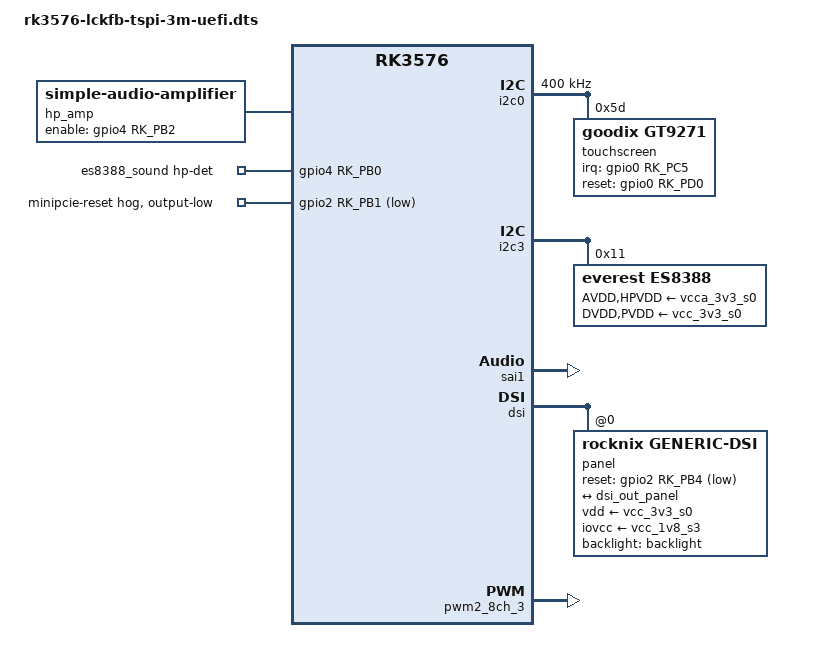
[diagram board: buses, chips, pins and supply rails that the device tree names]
// SPDX-License-Identifier: (GPL-2.0+ OR MIT)
/*
 * LCKFB TaishanPi 3M: the device tree the UEFI firmware hands to the OS.
 *
 * rk3576-lckfb-tspi-3m.dts next to this file is the mainline Linux 7.3 file,
 * unchanged.  Anything the firmware needs on top of it goes here, so the
 * mainline file can be replaced by a newer one without a merge.
 *
 * Added: the GT9271 touch controller of LCKFB's 800x1280 DSI screen.  Touch
 * needs nothing but the mainline goodix driver, and a missing screen only
 * fails its probe, so it is always described.
 *
 * Added: the rest of that screen, from Armbian's overlay
 * lckfb-tspi-3m-dsi-c41409463.dtso: its pwm-backlight on PWM2 channel 2,
 * and the panel on the DSI host, routed from VP2.  These are written
 * disabled, and FdtPlatformDxe turns them on at ReadyToBoot only when the
 * screen answered (FdtFixupDsiPanel): the backlight whenever the firmware
 * lit the screen, or the OS is to drive it natively; the DSI host and
 * D-PHY only with force GOP off, since with force GOP on the OS keeps the
 * firmware's picture and the VOP is disabled under it.  The backlight
 * starts at the level set in setup, so it does not jump at the handoff.
 * The panel needs Armbian's rocknix,generic-dsi driver; mainline has no
 * driver with this init sequence.
 *
 * Added: PWM2 channels 2 and 3, in the form of the RK3576 PWM v5 series
 * (rockchip,rk3576-pwm, Armbian's rk3576-pwm-v5 patch), which mainline does
 * not have yet.  Channel 3 drives the fan.  It is described with no
 * consumer, so that a kernel with the driver keeps the PWM clock on and the
 * fan where the firmware left it, and does not take control of it.
 *
 * Added from Armbian's board patch: the GPU's supply, clocks and OPPs (left
 * disabled, see &gpu below), and the mini-PCIe slot's 3.3 V supply kept on
 * and its reset released, so an EC20 4G module in it powers up.
 *
 * Added: the ES8388 headphone codec on I2C3 and SAI1, as a simple-audio-card
 * with jack detection (GPIO4 PB0) and the headphone amplifier enable (GPIO4
 * PB2).  Taken unchanged from Armbian's board patch
 * (rockchip64-7.3/board-lckfb-tspi-3m-01-onboard-hardware.patch), whose
 * device tree gave audible headphone output on this board with Linux 7.3.4
 * booted through this firmware.  Mainline describes only HDMI audio.  None
 * of it is in the ACPI tables' way: Windows gets the codec from the DSDT.
 *
 * Added: both USB-A VBUS supplies stay on.  The usb-a-connector nodes name
 * them, but no driver enables a connector's supply behind a hub, so the
 * kernel switched them off when it registered the regulators: a system
 * started from a USB stick lost the stick before it could mount it.
 *
 * The CM5-IO wrapper forces both USB controllers to
 * host mode and enables the UFS controller; neither has been shown to be
 * needed on this board, and the USB-C port here is described with a FUSB302
 * and role switching that a forced host mode would override.
 *
 * Copyright (c) 2026, Jiaxing Hu <gahing@gahingwoo.com>
 */

#include "rk3576-lckfb-tspi-3m.dts"

&i2c0 {
	pinctrl-names = "default";
	pinctrl-0 = <&i2c0m1_xfer>;
	clock-frequency = <400000>;
	status = "okay";

	touchscreen@5d {
		compatible = "goodix,gt9271";
		reg = <0x5d>;
		interrupt-parent = <&gpio0>;
		interrupts = <RK_PC5 IRQ_TYPE_LEVEL_LOW>;
		irq-gpios = <&gpio0 RK_PC5 GPIO_ACTIVE_HIGH>;
		/*
		 * The line resets the chip when low, but the goodix driver
		 * writes 0 to reset and 1 to release, so this is ACTIVE_HIGH
		 * like on every other board using it.
		 */
		reset-gpios = <&gpio0 RK_PD0 GPIO_ACTIVE_HIGH>;
		pinctrl-names = "default";
		pinctrl-0 = <&touch_int &touch_rst>;
	};
};

&pinctrl {
	touch {
		/* The interrupt line needs a pull-up and the board has none. */
		touch_int: touch-int {
			rockchip,pins = <0 RK_PC5 RK_FUNC_GPIO &pcfg_pull_up>;
		};

		touch_rst: touch-rst {
			rockchip,pins = <0 RK_PD0 RK_FUNC_GPIO &pcfg_pull_none>;
		};
	};
};

&vcc_5v0_usb2_host {
	regulator-always-on;
	regulator-boot-on;
};

&vcc_5v0_usb3_host {
	regulator-always-on;
	regulator-boot-on;
};

/ {
	hp_amp: headphone-amplifier {
		compatible = "simple-audio-amplifier";
		enable-gpios = <&gpio4 RK_PB2 GPIO_ACTIVE_HIGH>;
		pinctrl-names = "default";
		pinctrl-0 = <&hp_ctl>;
		sound-name-prefix = "Headphone Amp";
	};

	es8388_sound: es8388-sound {
		compatible = "simple-audio-card";
		pinctrl-names = "default";
		pinctrl-0 = <&hp_det>;
		simple-audio-card,name = "rockchip-es8388";
		simple-audio-card,format = "i2s";
		simple-audio-card,mclk-fs = <256>;
		simple-audio-card,aux-devs = <&hp_amp>;
		simple-audio-card,hp-det-gpios = <&gpio4 RK_PB0 GPIO_ACTIVE_HIGH>;
		simple-audio-card,routing =
			"Headphones", "Headphone Amp OUTL",
			"Headphones", "Headphone Amp OUTR",
			"Headphone Amp INL", "LOUT1",
			"Headphone Amp INR", "ROUT1",
			"LINPUT1", "Onboard Microphone",
			"LINPUT2", "Onboard Microphone",
			"RINPUT1", "Headset Microphone",
			"RINPUT2", "Headset Microphone";
		simple-audio-card,widgets =
			"Headphone", "Headphones",
			"Microphone", "Onboard Microphone",
			"Microphone", "Headset Microphone";

		simple-audio-card,codec {
			sound-dai = <&es8388>;
			system-clock-frequency = <12288000>;
		};

		simple-audio-card,cpu {
			sound-dai = <&sai1>;
		};
	};
};

&i2c3 {
	pinctrl-names = "default";
	pinctrl-0 = <&i2c3m0_xfer>;
	status = "okay";

	es8388: audio-codec@11 {
		compatible = "everest,es8388", "everest,es8328";
		reg = <0x11>;
		#sound-dai-cells = <0>;
		clocks = <&cru CLK_SAI1_MCLKOUT_TO_IO>;
		assigned-clocks = <&cru CLK_SAI1_MCLKOUT_TO_IO>;
		assigned-clock-rates = <12288000>;
		pinctrl-names = "default";
		pinctrl-0 = <&sai1m0_mclk>;
		AVDD-supply = <&vcca_3v3_s0>;
		DVDD-supply = <&vcc_3v3_s0>;
		HPVDD-supply = <&vcca_3v3_s0>;
		PVDD-supply = <&vcc_3v3_s0>;
	};
};

&pinctrl {
	headphone {
		hp_det: hp-det {
			rockchip,pins = <4 RK_PB0 RK_FUNC_GPIO &pcfg_pull_up>;
		};

		hp_ctl: hp-ctl {
			rockchip,pins = <4 RK_PB2 RK_FUNC_GPIO &pcfg_pull_none>;
		};
	};
};

/*
 * Only SDO2 reaches the codec's DAC input.  The route puts the first data
 * lane (the stereo pair a 2-channel stream uses) on SDO2.
 */
&sai1 {
	pinctrl-names = "default";
	pinctrl-0 = <&sai1m0_lrck
		     &sai1m0_sclk
		     &sai1m0_sdi0
		     &sai1m0_sdo2>;
	rockchip,sai-tx-route = <2 1 0 3>;
	status = "okay";
};

/*
 * The 10.1in DSI screen.  Disabled here; FdtFixupDsiPanel in FdtPlatformDxe
 * enables what applies once the firmware has looked for the screen.
 */
/ {
	backlight: backlight {
		compatible = "pwm-backlight";
		pwms = <&pwm2_8ch_2 0 25000 0>;
		/*
		 * 10% to 100% duty in 1% steps, the range of "Screen Brightness"
		 * in setup: level n is (n + 10)% duty.  FdtFixupDsiPanel
		 * replaces the default with the level the firmware lit the screen
		 * at.  The overlay's own scale is 20 to 255 of 255.
		 */
		brightness-levels = <10 100>;
		num-interpolated-steps = <90>;
		default-brightness-level = <50>;
		status = "disabled";
	};
};

&dsi {
	#address-cells = <1>;
	#size-cells = <0>;

	panel@0 {
		compatible = "rocknix,generic-dsi";
		reg = <0>;
		backlight = <&backlight>;
		reset-gpios = <&gpio2 RK_PB4 GPIO_ACTIVE_LOW>;
		pinctrl-names = "default";
		pinctrl-0 = <&lcd_rst>;
		/* mounted rotated: landscape is the panel's left side up */
		rotation = <270>;
		vdd-supply = <&vcc_3v3_s0>;
		iovcc-supply = <&vcc_1v8_s3>;

		panel_description =
			"G size=135,216 delays=20,30,10,100,20 format=rgb888 lanes=4 flags=0xa03",
			"M clock=71000 horizontal=800,52,8,48 vertical=1280,15,6,16 default=1",
			"I seq=ff988103",
			"I seq=0100",
			"I seq=0200",
			"I seq=0353",
			"I seq=0453",
			"I seq=0513",
			"I seq=0604",
			"I seq=0702",
			"I seq=0802",
			"I seq=0900",
			"I seq=0a00",
			"I seq=0b00",
			"I seq=0c00",
			"I seq=0d00",
			"I seq=0e00",
			"I seq=0f00",
			"I seq=1000",
			"I seq=1100",
			"I seq=1200",
			"I seq=1300",
			"I seq=1400",
			"I seq=1500",
			"I seq=1600",
			"I seq=1700",
			"I seq=1800",
			"I seq=1900",
			"I seq=1a00",
			"I seq=1b00",
			"I seq=1c00",
			"I seq=1d00",
			"I seq=1ec0",
			"I seq=1f00",
			"I seq=2002",
			"I seq=2109",
			"I seq=2200",
			"I seq=2300",
			"I seq=2400",
			"I seq=2500",
			"I seq=2600",
			"I seq=2700",
			"I seq=2855",
			"I seq=2903",
			"I seq=2a00",
			"I seq=2b00",
			"I seq=2c00",
			"I seq=2d00",
			"I seq=2e00",
			"I seq=2f00",
			"I seq=3000",
			"I seq=3100",
			"I seq=3200",
			"I seq=3300",
			"I seq=3400",
			"I seq=3500",
			"I seq=3600",
			"I seq=3700",
			"I seq=383c",
			"I seq=3900",
			"I seq=3a00",
			"I seq=3b00",
			"I seq=3c00",
			"I seq=3d00",
			"I seq=3e00",
			"I seq=3f00",
			"I seq=4000",
			"I seq=4100",
			"I seq=4200",
			"I seq=4300",
			"I seq=4400",
			"I seq=5001",
			"I seq=5123",
			"I seq=5245",
			"I seq=5367",
			"I seq=5489",
			"I seq=55ab",
			"I seq=5601",
			"I seq=5723",
			"I seq=5845",
			"I seq=5967",
			"I seq=5a89",
			"I seq=5bab",
			"I seq=5ccd",
			"I seq=5def",
			"I seq=5e01",
			"I seq=5f0a",
			"I seq=6002",
			"I seq=6102",
			"I seq=6208",
			"I seq=6315",
			"I seq=6414",
			"I seq=6502",
			"I seq=6611",
			"I seq=6710",
			"I seq=6802",
			"I seq=690f",
			"I seq=6a0e",
			"I seq=6b02",
			"I seq=6c0d",
			"I seq=6d0c",
			"I seq=6e06",
			"I seq=6f02",
			"I seq=7002",
			"I seq=7102",
			"I seq=7202",
			"I seq=7302",
			"I seq=7402",
			"I seq=750a",
			"I seq=7602",
			"I seq=7702",
			"I seq=7806",
			"I seq=7915",
			"I seq=7a14",
			"I seq=7b02",
			"I seq=7c10",
			"I seq=7d11",
			"I seq=7e02",
			"I seq=7f0c",
			"I seq=800d",
			"I seq=8102",
			"I seq=820e",
			"I seq=830f",
			"I seq=8408",
			"I seq=8502",
			"I seq=8602",
			"I seq=8702",
			"I seq=8802",
			"I seq=8902",
			"I seq=8a02",
			"I seq=ff988104",
			"I seq=3bc0",
			"I seq=6c15",
			"I seq=6e30",
			"I seq=6f55",
			"I seq=3a24",
			"I seq=8d1f",
			"I seq=87ba",
			"I seq=2676",
			"I seq=b2d1",
			"I seq=b507",
			"I seq=351f",
			"I seq=880b",
			"I seq=2109",
			"I seq=ff988101",
			"I seq=220a",
			"I seq=3109",
			"I seq=4033",
			"I seq=5337",
			"I seq=5538",
			"I seq=5095",
			"I seq=5195",
			"I seq=6030",
			"I seq=a00f",
			"I seq=a117",
			"I seq=a222",
			"I seq=a319",
			"I seq=a415",
			"I seq=a528",
			"I seq=a61c",
			"I seq=a71c",
			"I seq=a878",
			"I seq=a91c",
			"I seq=aa28",
			"I seq=ab69",
			"I seq=ac1a",
			"I seq=ad19",
			"I seq=ae4b",
			"I seq=af22",
			"I seq=b02a",
			"I seq=b14b",
			"I seq=b26b",
			"I seq=b33f",
			"I seq=c001",
			"I seq=c117",
			"I seq=c222",
			"I seq=c319",
			"I seq=c415",
			"I seq=c528",
			"I seq=c61c",
			"I seq=c71d",
			"I seq=c878",
			"I seq=c91c",
			"I seq=ca28",
			"I seq=cb69",
			"I seq=cc1a",
			"I seq=cd19",
			"I seq=ce4b",
			"I seq=cf22",
			"I seq=d02a",
			"I seq=d14b",
			"I seq=d26b",
			"I seq=d33f",
			"I seq=ff988100",
			"I seq=11 wait=78",
			"I seq=29 wait=14";

		port {
			panel_in_dsi: endpoint {
				remote-endpoint = <&dsi_out_panel>;
			};
		};
	};
};

&dsi_in {
	dsi_in_vp2: endpoint {
		remote-endpoint = <&vp2_out_dsi>;
	};
};

&dsi_out {
	dsi_out_panel: endpoint {
		remote-endpoint = <&panel_in_dsi>;
	};
};

&vp2 {
	#address-cells = <1>;
	#size-cells = <0>;

	vp2_out_dsi: endpoint@ROCKCHIP_VOP2_EP_MIPI0 {
		reg = <ROCKCHIP_VOP2_EP_MIPI0>;
		remote-endpoint = <&dsi_in_vp2>;
	};
};

&pinctrl {
	lcd {
		lcd_rst: lcd-rst {
			rockchip,pins = <2 RK_PB4 RK_FUNC_GPIO &pcfg_pull_none>;
		};
	};
};

/*
 * PWM2 channels 2 (backlight) and 3 (fan), as the RK3576 PWM v5 series
 * describes them (Armbian's rk3576-pwm-v5 patch, "arm64: dts: rockchip: add
 * PWM nodes to RK3576 SoC dtsi"), with this board's pins.  Same node names
 * and addresses, so a mainline rk3576.dtsi that gains them merges with
 * these.  Channel 2 is enabled with the backlight.
 */
&{/soc} {
	pwm2_8ch_2: pwm@2ade2000 {
		compatible = "rockchip,rk3576-pwm";
		reg = <0x0 0x2ade2000 0x0 0x1000>;
		clocks = <&cru CLK_PWM2>, <&cru PCLK_PWM2>,
			 <&cru CLK_OSC_PWM2>, <&cru CLK_RC_PWM2>;
		clock-names = "pwm", "pclk", "osc", "rc";
		interrupts = <GIC_SPI 110 IRQ_TYPE_LEVEL_HIGH>;
		pinctrl-names = "default";
		pinctrl-0 = <&pwm2m3_ch2>;
		#pwm-cells = <3>;
		status = "disabled";
	};

	/*
	 * The fan, which the firmware leaves running (PwmFanSetSpeed).  No
	 * pwm-fan: Armbian's runs it at 2 kHz, which TaishanPi3M.dsc records
	 * as audible on this fan at partial duty, and the firmware's 25 kHz
	 * has not been run through Linux's thermal control.  The PWM driver
	 * finds the channel running at probe and keeps it so.
	 */
	pwm2_8ch_3: pwm@2ade3000 {
		compatible = "rockchip,rk3576-pwm";
		reg = <0x0 0x2ade3000 0x0 0x1000>;
		clocks = <&cru CLK_PWM2>, <&cru PCLK_PWM2>,
			 <&cru CLK_OSC_PWM2>, <&cru CLK_RC_PWM2>;
		clock-names = "pwm", "pclk", "osc", "rc";
		interrupts = <GIC_SPI 111 IRQ_TYPE_LEVEL_HIGH>;
		pinctrl-names = "default";
		pinctrl-0 = <&pwm2m3_ch3>;
		#pwm-cells = <3>;
		status = "okay";
	};
};

/*
 * The GPU is described but left disabled.  With it enabled, Armbian edge
 * 7.3.4 booted through this firmware probed panfrost and then took an
 * SError in panfrost_job_timedout, twice, 37 s and 281 s after boot: a GPU
 * job hung, and the reset path read GPU registers that no longer answered.
 * The cause is not known.  One difference from a U-Boot boot of the same
 * kernel is the BL31: Armbian's U-Boot uses Rockchip's v1.20, this firmware
 * the open-source TF-A v2.14, whose SCMI_CLK_GPU moves the GPU onto its
 * PVTPLL above 200 MHz.  Until the cause is known, a GPU that can bring the
 * system down is worse than none.  Everything else a working GPU needs is here, so
 * enabling it is this one status.
 */
&gpu {
	mali-supply = <&vdd_gpu_s0>;
	status = "disabled";
};

/*
 * The GPU power domain's supply.  A kernel with Leonard Lausen's
 * "pmdomain: rockchip: Manage the RK3576 GPU domain supply" (Armbian 7.4)
 * turns vdd_gpu_s0 on before it powers the domain; without it, the domain
 * failed to power up on the NanoPi M5.  Older kernels ignore the property.
 * The node has no label in rk3576.dtsi.
 */
&{/soc/power-management@27380000/power-controller/power-domain@4} {
	domain-supply = <&vdd_gpu_s0>;
};

/*
 * Mini-PCIe slot reset (PERST#).  Nothing drives it otherwise, and an EC20
 * 4G module stays in reset until it is released.
 */
&gpio2 {
	minipcie-reset-hog {
		gpio-hog;
		gpios = <RK_PB1 GPIO_ACTIVE_LOW>;
		output-low;
		line-name = "minipcie-reset";
	};
};

/* The mini-PCIe slot (EC20 4G module) has no driver to claim its supply. */
&vcc_3v3_minipcie {
	regulator-always-on;
};

/*
 * The GPU's clocks as Armbian's kernel (7.3 and 7.4) wants them: panfrost
 * there sets the OPP rate on a clock named "gpu", and the 7.4-rc SoC dtsi's
 * single "core" clock made it fail to probe ("Couldn't find clock with
 * name: gpu").  Jonas Karlman's series, which Armbian carries
 * (rk35xx-panthor-1GHz.patch): SCMI_CLK_GPU is the GPU clock, because TF-A
 * switches it between a normal PLL and the GPU PVTPLL by rate, and CLK_GPU
 * becomes the bus clock, as on the RK3568.  A mainline panfrost takes the
 * first clock as its clock and "bus" as the optional bus clock, so it reads
 * this the same way.
 */
&gpu {
	assigned-clocks = <&cru CLK_GPU>, <&scmi_clk SCMI_CLK_GPU>;
	assigned-clock-rates = <198000000>, <200000000>;
	clocks = <&scmi_clk SCMI_CLK_GPU>, <&cru CLK_GPU>;
	clock-names = "gpu", "bus";
};

/*
 * The same series' OPP table: the datasheet's 900 MHz maximum and the
 * vendor kernel's voltages, and a 200 MHz point for the rate the GPU starts
 * at.  Without the series' opp-suspend: on a kernel without its panfrost
 * change, a suspend frequency is set on the SCMI clock while the GPU is
 * already suspended, which the series reports as an SError.
 */
&gpu_opp_table {
	/delete-node/ opp-950000000;

	opp-200000000 {
		opp-hz = /bits/ 64 <200000000>;
		opp-microvolt = <712500 712500 875000>;
	};

	opp-300000000 {
		opp-microvolt = <712500 712500 875000>;
	};

	opp-400000000 {
		opp-microvolt = <712500 712500 875000>;
	};

	opp-500000000 {
		opp-microvolt = <712500 712500 875000>;
	};

	opp-600000000 {
		opp-microvolt = <712500 712500 875000>;
	};

	opp-700000000 {
		opp-microvolt = <750000 750000 875000>;
	};

	opp-800000000 {
		opp-microvolt = <812500 812500 875000>;
	};

	opp-900000000 {
		opp-microvolt = <875000 875000 875000>;
	};
};
